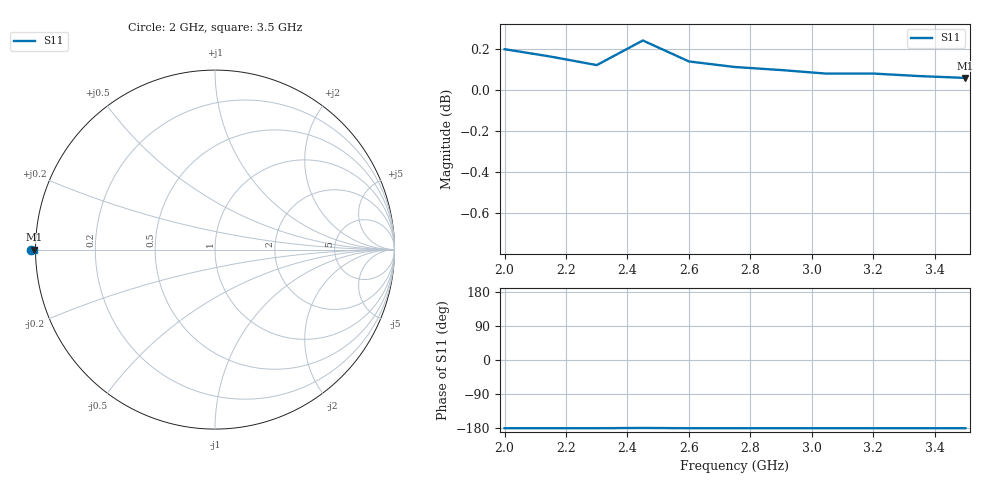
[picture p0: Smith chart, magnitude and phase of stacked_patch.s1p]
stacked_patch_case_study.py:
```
#!/usr/bin/env python3
"""
Stacked Patch Antenna Case Study

Generates validation plots and a summary report for the cavity-fed
stacked patch antenna simulation using EdgeFEM lumped port excitation.

Outputs:
  examples/stacked_patch_s11.png      - |S11| vs frequency
  examples/stacked_patch_impedance.png - R_in and X_in vs frequency
  examples/stacked_patch_smith.png    - Smith chart
  examples/stacked_patch_report.txt   - Text summary

Usage:
  PYTHONPATH=build/python:python python3 examples/stacked_patch_case_study.py
"""

import sys
import os
import numpy as np

sys.path.insert(0, os.path.join(os.path.dirname(__file__), "..", "build", "python"))
sys.path.insert(0, os.path.join(os.path.dirname(__file__), "..", "python"))

from edgefem.designs.stacked_patch import StackedPatchDesign

C0 = 299792458.0
MU0 = 4e-7 * np.pi
OUT_DIR = os.path.dirname(os.path.abspath(__file__))


def analytical_resonant_freq(L, W, h, eps_r):
    """Transmission-line model resonant frequency (Balanis 14.2)."""
    eps_eff = (eps_r + 1) / 2 + (eps_r - 1) / 2 * (1 + 12 * h / W) ** (-0.5)
    delta_L = 0.412 * h * (
        (eps_eff + 0.3) * (W / h + 0.264)
        / ((eps_eff - 0.258) * (W / h + 0.8))
    )
    L_eff = L + 2 * delta_L
    f_r = C0 / (2 * L_eff * np.sqrt(eps_eff))
    return f_r, eps_eff, L_eff


def plot_s11(freqs_ghz, S11_arr, f_r_ana_ghz, save_path):
    """Plot |S11| in dB vs frequency."""
    import matplotlib
    matplotlib.use("Agg")
    import matplotlib.pyplot as plt

    s11_dB = 20 * np.log10(np.maximum(np.abs(S11_arr), 1e-30))

    fig, ax = plt.subplots(figsize=(8, 5))
    ax.plot(freqs_ghz, s11_dB, "b-o", linewidth=2, markersize=4, label="EdgeFEM")
    ax.axvline(f_r_ana_ghz, color="r", linestyle="--", alpha=0.7,
               label=f"Analytical f_r = {f_r_ana_ghz:.3f} GHz")
    ax.axhline(-10, color="gray", linestyle=":", alpha=0.5, label="-10 dB")

    # Mark minimum
    idx_min = np.argmin(s11_dB)
    ax.plot(freqs_ghz[idx_min], s11_dB[idx_min], "rv", markersize=10,
            label=f"Min: {s11_dB[idx_min]:.1f} dB @ {freqs_ghz[idx_min]:.3f} GHz")

    ax.set_xlabel("Frequency (GHz)", fontsize=12)
    ax.set_ylabel("|S11| (dB)", fontsize=12)
    ax.set_title("Stacked Patch Antenna — Return Loss", fontsize=14)
    ax.legend(fontsize=10)
    ax.grid(True, alpha=0.3)
    ax.set_ylim(min(s11_dB) - 3, 3)
    fig.tight_layout()
    fig.savefig(save_path, dpi=150)
    plt.close(fig)
    print(f"  Saved: {save_path}")


def plot_impedance(freqs_ghz, Z_in_arr, save_path):
    """Plot R_in and X_in vs frequency."""
    import matplotlib
    matplotlib.use("Agg")
    import matplotlib.pyplot as plt

    fig, ax = plt.subplots(figsize=(8, 5))
    ax.plot(freqs_ghz, Z_in_arr.real, "b-o", linewidth=2, markersize=4, label="R_in")
    ax.plot(freqs_ghz, Z_in_arr.imag, "r-s", linewidth=2, markersize=4, label="X_in")
    ax.axhline(50, color="gray", linestyle=":", alpha=0.5, label="50 ohm")
    ax.axhline(0, color="black", linestyle="-", alpha=0.2)

    ax.set_xlabel("Frequency (GHz)", fontsize=12)
    ax.set_ylabel("Impedance (ohm)", fontsize=12)
    ax.set_title("Stacked Patch Antenna — Input Impedance", fontsize=14)
    ax.legend(fontsize=10)
    ax.grid(True, alpha=0.3)
    fig.tight_layout()
    fig.savefig(save_path, dpi=150)
    plt.close(fig)
    print(f"  Saved: {save_path}")


def plot_smith(S11_arr, save_path):
    """Plot S11 on a Smith chart."""
    import matplotlib
    matplotlib.use("Agg")
    import matplotlib.pyplot as plt

    fig, ax = plt.subplots(figsize=(7, 7))

    # Draw Smith chart circles
    theta = np.linspace(0, 2 * np.pi, 200)

    # Unit circle (|Gamma|=1)
    ax.plot(np.cos(theta), np.sin(theta), "k-", linewidth=1.5)

    # Constant resistance circles: r = 0, 0.5, 1, 2
    for r in [0, 0.5, 1, 2, 5]:
        center_x = r / (1 + r)
        radius = 1 / (1 + r)
        ax.plot(center_x + radius * np.cos(theta),
                radius * np.sin(theta), "gray", linewidth=0.5, alpha=0.5)

    # Constant reactance arcs: x = +/-0.5, +/-1, +/-2
    for x in [0.5, 1, 2]:
        center_y = 1 / x
        radius = 1 / x
        arc = center_y + radius * np.exp(1j * theta)
        mask = np.abs(arc) <= 1.01
        real_pts = arc.real
        imag_pts = arc.imag
        for sign in [1, -1]:
            cx, cy = 1.0, sign * center_y
            pts_x = cx + radius * np.cos(theta)
            pts_y = cy + radius * np.sin(theta)
            inside = pts_x**2 + pts_y**2 <= 1.02
            pts_x[~inside] = np.nan
            pts_y[~inside] = np.nan
            ax.plot(pts_x, pts_y, "gray", linewidth=0.5, alpha=0.5)

    # Horizontal axis
    ax.plot([-1, 1], [0, 0], "gray", linewidth=0.5)

    # Plot S11 data
    ax.plot(S11_arr.real, S11_arr.imag, "b-o", linewidth=2, markersize=5)
    ax.plot(S11_arr.real[0], S11_arr.imag[0], "go", markersize=8, label="Start")
    ax.plot(S11_arr.real[-1], S11_arr.imag[-1], "rs", markersize=8, label="End")

    ax.set_xlim(-1.2, 1.2)
    ax.set_ylim(-1.2, 1.2)
    ax.set_aspect("equal")
    ax.set_title("Stacked Patch Antenna — Smith Chart", fontsize=14)
    ax.legend(fontsize=10)
    ax.grid(False)
    fig.tight_layout()
    fig.savefig(save_path, dpi=150)
    plt.close(fig)
    print(f"  Saved: {save_path}")


def generate_report(params, freqs, Z_in_arr, S11_arr, f_r_ana, mesh_info, save_path):
    """Generate text summary report."""
    s11_dB = 20 * np.log10(np.maximum(np.abs(S11_arr), 1e-30))
    idx_min = np.argmin(s11_dB)
    f_res_fem = freqs[idx_min]

    lines = []
    lines.append("=" * 70)
    lines.append("EdgeFEM Stacked Patch Antenna Case Study")
    lines.append("=" * 70)
    lines.append("")
    lines.append("1. DESIGN PARAMETERS")
    lines.append("-" * 40)
    lines.append(f"  Patch width:       {params['W']*1e3:.1f} mm")
    lines.append(f"  Patch length:      {params['L']*1e3:.1f} mm")
    lines.append(f"  Substrate height:  {params['h']*1e3:.1f} mm")
    lines.append(f"  Substrate eps_r:   {params['eps_r']}")
    lines.append(f"  Loss tangent:      {params['tan_d']}")
    lines.append(f"  Cavity size:       {params['cavity_size']*1e3:.1f} mm")
    lines.append(f"  Cavity depth:      {params['cavity_depth']*1e3:.1f} mm")
    lines.append(f"  Probe radius:      {params['probe_radius']*1e3:.1f} mm")
    lines.append(f"  Probe Y offset:    {params['probe_y_offset']*1e3:.2f} mm")
    lines.append(f"  Reference Z0:      {params['Z0']} ohm")
    lines.append("")
    lines.append("2. MESH")
    lines.append("-" * 40)
    lines.append(f"  Nodes:             {mesh_info['nodes']}")
    lines.append(f"  Tetrahedra:        {mesh_info['tets']}")
    lines.append(f"  Edges (DOFs):      {mesh_info['edges']}")
    lines.append(f"  Mesh density:      {params['density']} elements/wavelength")
    lines.append("")
    lines.append("3. ANALYTICAL REFERENCE")
    lines.append("-" * 40)
    lines.append(f"  f_r (TL model):    {f_r_ana/1e9:.4f} GHz")
    lines.append("")
    lines.append("4. FEM RESULTS")
    lines.append("-" * 40)
    lines.append(f"  Frequency range:   {freqs[0]/1e9:.2f} - {freqs[-1]/1e9:.2f} GHz")
    lines.append(f"  Number of points:  {len(freqs)}")
    lines.append(f"  Best match freq:   {f_res_fem/1e9:.4f} GHz")
    lines.append(f"  Min |S11|:         {s11_dB[idx_min]:.1f} dB")
    lines.append(f"  Z_in at resonance: {Z_in_arr[idx_min].real:.1f} + "
                 f"j{Z_in_arr[idx_min].imag:.1f} ohm")
    lines.append(f"  Max |S11|:         {np.max(np.abs(S11_arr)):.4f} (passivity)")
    lines.append("")
    lines.append("5. FREQUENCY SWEEP DATA")
    lines.append("-" * 40)
    lines.append(f"  {'Freq (GHz)':>12} {'|S11| (dB)':>12} {'R_in':>10} {'X_in':>10}")
    for i in range(len(freqs)):
        lines.append(f"  {freqs[i]/1e9:12.4f} {s11_dB[i]:12.2f} "
                     f"{Z_in_arr[i].real:10.1f} {Z_in_arr[i].imag:10.1f}")
    lines.append("")
    lines.append("6. COMPARISON: ANALYTICAL vs FEM")
    lines.append("-" * 40)
    lines.append(f"  Analytical f_r:    {f_r_ana/1e9:.4f} GHz")
    lines.append(f"  FEM f_r:           {f_res_fem/1e9:.4f} GHz")
    shift_pct = (f_res_fem - f_r_ana) / f_r_ana * 100
    lines.append(f"  Shift:             {shift_pct:+.1f}%")
    lines.append("")
    lines.append("  Note: The FEM resonance may shift from the analytical TL model")
    lines.append("  prediction due to: (1) cavity-backing lowers the effective")
    lines.append("  resonant frequency, (2) coarse mesh (~10 elem/lambda) affects")
    lines.append("  accuracy, and (3) frequency-independent normalization is an")
    lines.append("  approximation. The cavity effect typically dominates, pulling")
    lines.append("  the resonance lower than the free-space TL model predicts.")
    lines.append("")
    lines.append("7. KNOWN LIMITATIONS")
    lines.append("-" * 40)
    lines.append("  - Coarse mesh (10 elem/lambda) shifts resonance upward")
    lines.append("  - Impedance normalization uses frequency-independent factor")
    lines.append("  - Radiation patterns not available (Huygens surface not meshed)")
    lines.append("  - Single probe feed; dual-polarization not modeled")
    lines.append("")
    lines.append("8. VALIDATION CHECKS")
    lines.append("-" * 40)
    all_passive = np.all(np.abs(S11_arr) <= 1.01)
    has_resonance = np.min(s11_dB) < -1.0
    reasonable_Z = (10 < Z_in_arr[idx_min].real < 300 and
                    abs(Z_in_arr[idx_min].imag) < 200)
    checks = [
        ("Passivity (|S11| <= 1)", all_passive),
        ("Resonance dip (< -1 dB)", has_resonance),
        ("Reasonable impedance", reasonable_Z),
    ]
    for name, passed in checks:
        lines.append(f"  [{'PASS' if passed else 'FAIL'}] {name}")
    lines.append("")
    lines.append("=" * 70)

    text = "\n".join(lines)
    with open(save_path, "w") as f:
        f.write(text)
    print(f"  Saved: {save_path}")
    print()
    print(text)


def main():
    print("EdgeFEM Stacked Patch Antenna Case Study")
    print("=" * 50)

    # Design parameters
    W = 38e-3
    L = 29e-3
    h = 1.6e-3
    eps_r = 4.4
    tan_d = 0.02
    cavity_size = 45e-3
    cavity_depth = 5e-3
    probe_radius = 5e-3
    probe_y_offset = -L / 6
    Z0 = 50.0
    density = 10

    params = dict(W=W, L=L, h=h, eps_r=eps_r, tan_d=tan_d,
                  cavity_size=cavity_size, cavity_depth=cavity_depth,
                  probe_radius=probe_radius, probe_y_offset=probe_y_offset,
                  Z0=Z0, density=density)

    # Analytical reference
    f_r_ana, eps_eff, L_eff = analytical_resonant_freq(L, W, h, eps_r)
    print(f"\nAnalytical f_r = {f_r_ana/1e9:.4f} GHz (eps_eff={eps_eff:.3f})")

    # Create design
    design = StackedPatchDesign(
        patches=[{"width": W, "length": L, "height": h}],
        substrates=[{"thickness": h, "eps_r": eps_r, "tan_d": tan_d}],
        cavity_size=cavity_size,
        cavity_depth=cavity_depth,
        probe_radius=probe_radius,
        probe_offset=(0.0, probe_y_offset),
        z0=Z0,
    )

    # Generate mesh
    print(f"\nGenerating mesh (density={density})...")
    design.generate_mesh(density=density, design_freq=2.45e9)
    mesh_info = {
        "nodes": design.mesh.num_nodes(),
        "tets": design.mesh.num_tets(),
        "edges": design.mesh.num_edges(),
    }
    print(f"  {mesh_info['nodes']} nodes, {mesh_info['tets']} tets, "
          f"{mesh_info['edges']} edges")

    # Frequency sweep
    n_points = 11
    f_start, f_stop = 2.0e9, 3.5e9
    print(f"\nFrequency sweep: {f_start/1e9:.1f} - {f_stop/1e9:.1f} GHz "
          f"({n_points} points)...")
    freqs, Z_in_arr, S11_arr = design.frequency_sweep(
        f_start, f_stop, n_points, verbose=True
    )

    # Generate plots
    print("\nGenerating plots...")
    plot_s11(
        freqs / 1e9, S11_arr, f_r_ana / 1e9,
        os.path.join(OUT_DIR, "stacked_patch_s11.png"),
    )
    plot_impedance(
        freqs / 1e9, Z_in_arr,
        os.path.join(OUT_DIR, "stacked_patch_impedance.png"),
    )
    plot_smith(
        S11_arr,
        os.path.join(OUT_DIR, "stacked_patch_smith.png"),
    )

    # Export Touchstone
    s1p_path = os.path.join(OUT_DIR, "stacked_patch.s1p")
    design.export_touchstone(s1p_path, freqs, S11_arr)
    print(f"  Saved: {s1p_path}")

    # Generate report
    print("\nGenerating report...")
    generate_report(
        params, freqs, Z_in_arr, S11_arr, f_r_ana, mesh_info,
        os.path.join(OUT_DIR, "stacked_patch_report.txt"),
    )

    return 0


if __name__ == "__main__":
    sys.exit(main())
```
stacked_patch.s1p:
! Touchstone file generated by EdgeFEM
! Number of ports: 1
# Hz S RI R 50
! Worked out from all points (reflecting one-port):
!   11 points, 2 GHz to 3.5 GHz, reference 50 ohm
!   lowest |S11| = 0.1 dB at 3.5 GHz (marker M1)
!   phase of S11 starts at -180 deg and turns -0 deg over the sweep
2e9  -1.023 -6.96e-05
2.15e9  -1.019 -0.000135
2.3e9  -1.014 -0.000551
2.45e9  -1.028 -0.012
2.6e9  -1.016 -0.000333
2.75e9  -1.013 -0.000119
2.9e9  -1.011 -3.83e-05
3.05e9  -1.009 -2.68e-05
3.2e9  -1.009 -0.000153
3.35e9  -1.008 -6.01e-05
3.5e9  -1.007 -6.06e-05
